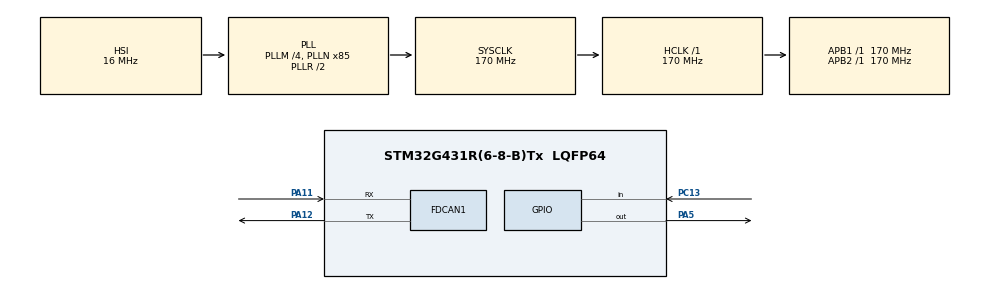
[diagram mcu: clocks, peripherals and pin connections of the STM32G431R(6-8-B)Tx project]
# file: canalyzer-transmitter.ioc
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FDCAN1.CalculateBaudRateNominal=499999
FDCAN1.CalculateTimeBitNominal=2000
FDCAN1.CalculateTimeQuantumNominal=11.764705882352942
FDCAN1.ClockDivider=FDCAN_CLOCK_DIV1
FDCAN1.NominalPrescaler=2
FDCAN1.NominalSyncJumpWidth=18
FDCAN1.NominalTimeSeg1=119
FDCAN1.NominalTimeSeg2=50
Mcu.Family=STM32G4
Mcu.Name=STM32G431R(6-8-B)Tx
Mcu.Package=LQFP64
NUCLEO-G431RB.BUTTON=1
NUCLEO-G431RB.LD1=true
NUCLEO-G431RB.VCP=true
NVIC.EXTI15_10_IRQn=true\:0\:0\:false\:false\:true\:false\:true\:true
NVIC.PriorityGroup=NVIC_PRIORITYGROUP_4
PA11.Mode=FDCAN_Activate
PA11.Signal=FDCAN1_RX
PA12.Mode=FDCAN_Activate
PA12.Signal=FDCAN1_TX
PA13.GPIO_Label=T_SWDIO
PA13.Signal=SYS_JTMS-SWDIO
PA14.GPIO_Label=T_SWCLK
PA14.Signal=SYS_JTCK-SWCLK
PA2.Signal=LPUART1_TX
PA3.Signal=LPUART1_RX
PA5.Signal=GPIO_Output
PB3.GPIO_Label=T_SWO
PB3.Signal=SYS_JTDO-SWO
PC13.Signal=GPIO_Input
PC14-OSC32_IN.GPIO_Label=RCC_OSC32_OUT
PC14-OSC32_IN.Signal=RCC_OSC32_IN
PC15-OSC32_OUT.GPIO_Label=RCC_OSC32_OUT
PC15-OSC32_OUT.Signal=RCC_OSC32_OUT
PF0-OSC_IN.GPIO_Label=RCC_OSC_IN
PF0-OSC_IN.Signal=RCC_OSC_IN
PF1-OSC_OUT.GPIO_Label=RCC_OSC_OUT
PF1-OSC_OUT.Signal=RCC_OSC_OUT
ProjectManager.HeapSize=0x200
ProjectManager.StackSize=0x400
ProjectManager.TargetToolchain=STM32CubeIDE
RCC.ADC12Freq_Value=170000000
RCC.AHBFreq_Value=170000000
RCC.APB1Freq_Value=170000000
RCC.APB1TimFreq_Value=170000000
RCC.APB2Freq_Value=170000000
RCC.APB2TimFreq_Value=170000000
RCC.CortexFreq_Value=170000000
RCC.EXTERNAL_CLOCK_VALUE=12288000
RCC.HCLKFreq_Value=170000000
RCC.HSE_VALUE=24000000
RCC.HSI48_VALUE=48000000
RCC.HSI_VALUE=16000000
RCC.LSE_VALUE=32768
RCC.PLLM=RCC_PLLM_DIV4
RCC.PLLN=85
RCC.RTCClockSelection=RCC_RTCCLKSOURCE_LSE
RCC.SYSCLKFreq_VALUE=170000000
RCC.SYSCLKSource=RCC_SYSCLKSOURCE_PLLCLK
RCC.USBFreq_Value=170000000
RCC.VCOOutputFreq_Value=340000000
VP_NUCLEO-G431RB_VS_BSP_COMMON.Mode=COMMON
VP_SYS_VS_DBSignals.Mode=DisableDeadBatterySignals
board=NUCLEO-G431RB

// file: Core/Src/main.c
/* USER CODE BEGIN Header */
/**
  ******************************************************************************
  * @file           : main.c
  * @brief          : Main program body
  ******************************************************************************
  * @attention
  *
  * Copyright (c) 2024 STMicroelectronics.
  * All rights reserved.
  *
  * This software is licensed under terms that can be found in the LICENSE file
  * in the root directory of this software component.
  * If no LICENSE file comes with this software, it is provided AS-IS.
  *
  ******************************************************************************
  */
/* USER CODE END Header */
#include "main.h"

COM_InitTypeDef BspCOMInit;
FDCAN_HandleTypeDef hfdcan1;

/* USER CODE BEGIN PV */
FDCAN_TxHeaderTypeDef msgHead;
uint8_t TxData[1];

/* USER CODE END PV */

void SystemClock_Config(void);
static void MX_GPIO_Init(void);
static void MX_FDCAN1_Init(void);

int main(void)
{

  /* MCU Configuration--------------------------------------------------------*/

  /* Reset of all peripherals, Initializes the Flash interface and the Systick. */
  HAL_Init();

  /* Configure the system clock */
  SystemClock_Config();

  /* Initialize all configured peripherals */
  MX_GPIO_Init();
  MX_FDCAN1_Init();
  /* USER CODE BEGIN 2 */

  HAL_FDCAN_Start(&hfdcan1);

  // Initialize FDCAN.
  msgHead.Identifier = 2024;
  msgHead.IdType = FDCAN_EXTENDED_ID;
  msgHead.TxFrameType = FDCAN_DATA_FRAME;
  msgHead.DataLength = FDCAN_DLC_BYTES_1;
  msgHead.ErrorStateIndicator = FDCAN_ESI_ACTIVE;
  msgHead.BitRateSwitch = FDCAN_BRS_OFF;
  msgHead.FDFormat = FDCAN_CLASSIC_CAN;
  msgHead.TxEventFifoControl = FDCAN_NO_TX_EVENTS;
  msgHead.MessageMarker = 0;

  /* Initialize leds */
  BSP_LED_Init(LED_GREEN);

  /* Initialize USER push-button, will be used to trigger an interrupt each time it's pressed.*/
  BSP_PB_Init(BUTTON_USER, BUTTON_MODE_EXTI);

  /* Initialize COM1 port (115200, 8 bits (7-bit data + 1 stop bit), no parity */
  BspCOMInit.BaudRate   = 115200;
  BspCOMInit.WordLength = COM_WORDLENGTH_8B;
  BspCOMInit.StopBits   = COM_STOPBITS_1;
  BspCOMInit.Parity     = COM_PARITY_NONE;
  BspCOMInit.HwFlowCtl  = COM_HWCONTROL_NONE;
  if (BSP_COM_Init(COM1, &BspCOMInit) != BSP_ERROR_NONE)
  {
    Error_Handler();
  }
  /* USER CODE END 2 */

  /* Infinite loop */
  /* USER CODE BEGIN WHILE */
  unsigned int counter = 0;
  while (1)
  {

    /* USER CODE END WHILE */

	  int button = HAL_GPIO_ReadPin(GPIOC, GPIO_PIN_13);
	  HAL_GPIO_WritePin(GPIOA, GPIO_PIN_5, button);

	  if (button) {
		TxData[0] = counter;
		HAL_FDCAN_AddMessageToTxFifoQ(&hfdcan1, &msgHead, TxData);
		counter++;
	  }

  }
}

void SystemClock_Config(void)
{
  RCC_OscInitTypeDef RCC_OscInitStruct = {0};
  RCC_ClkInitTypeDef RCC_ClkInitStruct = {0};

  /** Configure the main internal regulator output voltage
  */
  HAL_PWREx_ControlVoltageScaling(PWR_REGULATOR_VOLTAGE_SCALE1_BOOST);

  /** Initializes the RCC Oscillators according to the specified parameters
  * in the RCC_OscInitTypeDef structure.
  */
  RCC_OscInitStruct.OscillatorType = RCC_OSCILLATORTYPE_HSI;
  RCC_OscInitStruct.HSIState = RCC_HSI_ON;
  RCC_OscInitStruct.HSICalibrationValue = RCC_HSICALIBRATION_DEFAULT;
  RCC_OscInitStruct.PLL.PLLState = RCC_PLL_ON;
  RCC_OscInitStruct.PLL.PLLSource = RCC_PLLSOURCE_HSI;
  RCC_OscInitStruct.PLL.PLLM = RCC_PLLM_DIV4;
  RCC_OscInitStruct.PLL.PLLN = 85;
  RCC_OscInitStruct.PLL.PLLP = RCC_PLLP_DIV2;
  RCC_OscInitStruct.PLL.PLLQ = RCC_PLLQ_DIV2;
  RCC_OscInitStruct.PLL.PLLR = RCC_PLLR_DIV2;
  if (HAL_RCC_OscConfig(&RCC_OscInitStruct) != HAL_OK)
  {
    Error_Handler();
  }

  /** Initializes the CPU, AHB and APB buses clocks
  */
  RCC_ClkInitStruct.ClockType = RCC_CLOCKTYPE_HCLK|RCC_CLOCKTYPE_SYSCLK
                              |RCC_CLOCKTYPE_PCLK1|RCC_CLOCKTYPE_PCLK2;
  RCC_ClkInitStruct.SYSCLKSource = RCC_SYSCLKSOURCE_PLLCLK;
  RCC_ClkInitStruct.AHBCLKDivider = RCC_SYSCLK_DIV1;
  RCC_ClkInitStruct.APB1CLKDivider = RCC_HCLK_DIV1;
  RCC_ClkInitStruct.APB2CLKDivider = RCC_HCLK_DIV1;

  if (HAL_RCC_ClockConfig(&RCC_ClkInitStruct, FLASH_LATENCY_4) != HAL_OK)
  {
    Error_Handler();
  }
}

static void MX_FDCAN1_Init(void)
{

  hfdcan1.Instance = FDCAN1;
  hfdcan1.Init.ClockDivider = FDCAN_CLOCK_DIV1;
  hfdcan1.Init.FrameFormat = FDCAN_FRAME_CLASSIC;
  hfdcan1.Init.Mode = FDCAN_MODE_NORMAL;
  hfdcan1.Init.AutoRetransmission = DISABLE;
  hfdcan1.Init.TransmitPause = DISABLE;
  hfdcan1.Init.ProtocolException = DISABLE;
  hfdcan1.Init.NominalPrescaler = 2;
  hfdcan1.Init.NominalSyncJumpWidth = 18;
  hfdcan1.Init.NominalTimeSeg1 = 119;
  hfdcan1.Init.NominalTimeSeg2 = 50;
  hfdcan1.Init.DataPrescaler = 1;
  hfdcan1.Init.DataSyncJumpWidth = 1;
  hfdcan1.Init.DataTimeSeg1 = 1;
  hfdcan1.Init.DataTimeSeg2 = 1;
  hfdcan1.Init.StdFiltersNbr = 0;
  hfdcan1.Init.ExtFiltersNbr = 0;
  hfdcan1.Init.TxFifoQueueMode = FDCAN_TX_FIFO_OPERATION;
  if (HAL_FDCAN_Init(&hfdcan1) != HAL_OK)
  {
    Error_Handler();
  }

}

static void MX_GPIO_Init(void)
{
  GPIO_InitTypeDef GPIO_InitStruct = {0};

  /* GPIO Ports Clock Enable */
  __HAL_RCC_GPIOC_CLK_ENABLE();
  __HAL_RCC_GPIOF_CLK_ENABLE();
  __HAL_RCC_GPIOA_CLK_ENABLE();
  __HAL_RCC_GPIOB_CLK_ENABLE();

  /*Configure GPIO pin Output Level */
  HAL_GPIO_WritePin(GPIOA, GPIO_PIN_5, GPIO_PIN_RESET);

  /*Configure GPIO pin : PC13 */
  GPIO_InitStruct.Pin = GPIO_PIN_13;
  GPIO_InitStruct.Mode = GPIO_MODE_INPUT;
  GPIO_InitStruct.Pull = GPIO_NOPULL;
  HAL_GPIO_Init(GPIOC, &GPIO_InitStruct);

  /*Configure GPIO pin : PA5 */
  GPIO_InitStruct.Pin = GPIO_PIN_5;
  GPIO_InitStruct.Mode = GPIO_MODE_OUTPUT_PP;
  GPIO_InitStruct.Pull = GPIO_NOPULL;
  GPIO_InitStruct.Speed = GPIO_SPEED_FREQ_LOW;
  HAL_GPIO_Init(GPIOA, &GPIO_InitStruct);

}

/* USER CODE BEGIN 4 */

void H_EXTI_13(void) {
	HAL_GPIO_WritePin(GPIOA, GPIO_PIN_5, GPIO_PIN_SET);

}

/* USER CODE END 4 */

void Error_Handler(void)
{
  __disable_irq();
  while (1)
  {
  }
}
